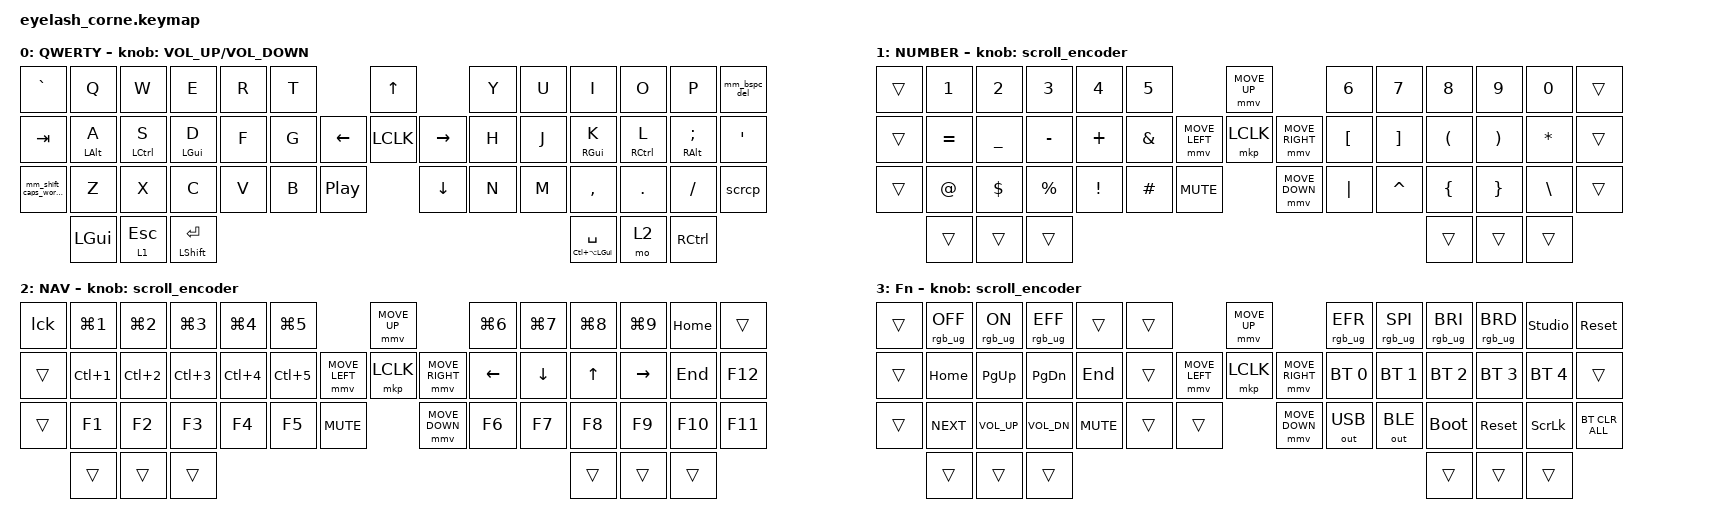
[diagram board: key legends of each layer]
#define ZMK_POINTING_DEFAULT_MOVE_VAL 1200  // 600
#define ZMK_POINTING_DEFAULT_SCRL_VAL 25   // 10

#define HM_TAPPING_TERM 300
#define HM_TAPPING_TERM_FAST 200
#define HM_PRIOR_IDLE 150

#define KEYS_L 0  1  2  3  4  5 13 14 15 16 17 18 28 29 30 31 32 33
#define KEYS_R 7  8  9 10 11 12 22 23 24 25 26 27 36 37 38 39 40 41
#define KEYS_T 42 43 44 45 46 47 48

#include <input/processors.dtsi>
#include <zephyr/dt-bindings/input/input-event-codes.h>
#include <behaviors.dtsi>
#include <dt-bindings/zmk/bt.h>
#include <dt-bindings/zmk/keys.h>
#include <dt-bindings/zmk/outputs.h>
#include <dt-bindings/zmk/pointing.h>
#include <dt-bindings/zmk/rgb.h>

&mmv_input_listener { input-processors = <&zip_xy_scaler 2 1>; };

&msc_input_listener { input-processors = <&zip_scroll_scaler 2 1>; };

&msc {
    acceleration-exponent = <1>;      // 0
    time-to-max-speed-ms = <100>;       // 300
    delay-ms = <0>;                   // 0
};

&lt {
    flavor = "balanced";
};

&mt {
    // Deactivate shift on press of next key instead of on release
    // to prevent capitalization of multiple characters when rolling
    // keys (such as `ST`).
    flavor = "hold-preferred";
};
/*
 * Sticky Key Settings
 */
&sk {
    // Deactivate shift on press of next key instead of on release
    // to prevent capitalization of multiple characters when rolling
    // keys (such as `ST`).
    quick-release;
};

&mmv {
    time-to-max-speed-ms = <500>;
    acceleration-exponent = <1>;
    trigger-period-ms = <16>;
};

/ {
 combos {
        compatible = "zmk,combos";

        parentheses_left {
            bindings = <&kp LEFT_PARENTHESIS>;
            key-positions = <16 17>;
            layers = <0>;
            require-prior-idle-ms = <125>;
        };

        parentheses_right {
            bindings = <&kp RIGHT_PARENTHESIS>;
            key-positions = <23 24>;
            layers = <0>;
            require-prior-idle-ms = <125>;
        };

        bracket_left {
            bindings = <&kp LEFT_BRACKET>;
            key-positions = <3 4>;
            require-prior-idle-ms = <125>;
            layers = <0>;
        };

        bracket_right {
            bindings = <&kp RIGHT_BRACKET>;
            key-positions = <8 9>;
            require-prior-idle-ms = <125>;
            layers = <0>;
        };

        brace_left {
            bindings = <&kp LEFT_BRACE>;
            key-positions = <31 32>;
            require-prior-idle-ms = <125>;
            layers = <0>;
        };

        brace_right {
            bindings = <&kp RIGHT_BRACE>;
            key-positions = <37 38>;
            require-prior-idle-ms = <125>;
            layers = <0>;
        };

        less_than {
            bindings = <&kp LESS_THAN>;
            key-positions = <2 3>;
            require-prior-idle-ms = <125>;
            layers = <0>;
        };

        bigger_than {
            bindings = <&kp GREATER_THAN>;
            key-positions = <9 10>;
            require-prior-idle-ms = <125>;
            layers = <0>;
        };

        hyphen {
            bindings = <&kp MINUS>;
            key-positions = <32 37>;
            require-prior-idle-ms = <125>;
            layers = <0>;
        };

        plus {
            bindings = <&kp PLUS>;
            key-positions = <4 8>;
            require-prior-idle-ms = <125>;
            layers = <0>;
        };

        equal {
            bindings = <&kp EQUAL>;
            key-positions = <17 23>;
            require-prior-idle-ms = <125>;
            layers = <0>;
        };

        astrsk {
            bindings = <&kp ASTERISK>;
            key-positions = <3 9>;
            require-prior-idle-ms = <125>;
            layers = <0>;
        };

        dollar {
            bindings = <&kp DOLLAR>;
            key-positions = <16 24>;
            require-prior-idle-ms = <125>;
            layers = <0>;
        };

        excl {
            bindings = <&kp EXCL>;
            key-positions = <31 38>;
            require-prior-idle-ms = <125>;
            layers = <0>;
        };

        ampersand {
            bindings = <&kp AMPERSAND>;
            key-positions = <18 22>;
            require-prior-idle-ms = <125>;
            layers = <0>;
        };

        underscore {
            bindings = <&kp UNDERSCORE>;
            key-positions = <33 36>;
            require-prior-idle-ms = <125>;
            layers = <0>;
        };

        /* nav01 { */
        /*    bindings = <&kp N1>; */
        /*    key-positions = <1 2>; */
        /*    layers = <1>; */
        /* } */
        /**/
        /* nav02 { */
        /*    bindings = <&kp N2>; */
        /*    key-positions = <2 3>; */
        /*    layers = <1>; */
        /* } */
        /**/
        /* nav03 { */
        /*    bindings = <&kp N3>; */
        /*    key-positions = <3 4>; */
        /*    layers = <1>; */
        /* } */
        /**/
        /* nav04 { */
        /*    bindings = <&kp N4>; */
        /*    key-positions = <4 5>; */
        /*    layers = <1>; */
        /* } */
    };

    behaviors {
        td0: td0 {
            compatible = "zmk,behavior-tap-dance";
            display-name = "Shift/Caps Lock Tap Dance";
            #binding-cells = <0>;
            tapping-term-ms = <500>;
            bindings = <&kp LEFT_SHIFT>, <&kp CAPS>;
        };
        td1: td1 {
            compatible = "zmk,behavior-tap-dance";
            display-name = "layer/alt Tap Dance";
            #binding-cells = <0>;
            tapping-term-ms = <500>;
            bindings = <&mo 2>, <&kp LALT>;
        };
       // Positional Homerow mods
        // Homerow mods that prevent accidental activations when rolling keys,
        // such as when typing `st` or `ne` on colemak-dh layouts or `as` on
        // qwerty.
        //
        // Works by only allowing a mod to activate within tapping-term if
        // it's on the opposite side of the keyboard or on the same side thumb
        // keys.

        // Further optimization using urob's timerless homerow mods method:
        // https://github.com/urob/zmk-config#timeless-homerow-mods
        hm_l: homerow_mods_left {
            compatible = "zmk,behavior-hold-tap";
            #binding-cells = <2>;
            bindings = <&kp>,  <&kp>;

            flavor = "balanced";
            tapping-term-ms = <HM_TAPPING_TERM>;
            quick-tap-ms = <175>;                // repeat on tap-into-hold
            require-prior-idle-ms = <HM_PRIOR_IDLE>;

            hold-trigger-key-positions = <KEYS_R KEYS_T>;
            hold-trigger-on-release;
        };

        hm_r: homerow_mods_right {
            compatible = "zmk,behavior-hold-tap";
            #binding-cells = <2>;
            bindings = <&kp>, <&kp>;

            flavor = "balanced";
            tapping-term-ms = <HM_TAPPING_TERM>;
            quick-tap-ms = <175>;
            require-prior-idle-ms = <HM_PRIOR_IDLE>;

            hold-trigger-key-positions = <KEYS_L KEYS_T>;
            hold-trigger-on-release;
        };

        /*
         * Shifted Backspace deletes
         *
         * Usage: &mm_bspc_del
         * Tap: Backspace
         * Shift-Tap: Delete
         */
        mm_bspc_del: bspc_del {
            compatible = "zmk,behavior-mod-morph";
            #binding-cells = <0>;
            bindings = <&kp BSPC>, <&kp DEL>;
            mods = <(MOD_LSFT|MOD_RSFT)>;
        };

        /*
         * Sticky shift + Caps Word
         *
         * Usage: &mm_shift_caps_word_l or &mm_shift_caps_word_r
         * Tap: Sticky shift
         * HMR-Shift-Tap: Caps Word
         * Double Tap: Caps Word
         *   - The first tap activates sticky shift mod
         *   - The second tap is now a shift + press, which activates
         *     the mod morph
         * Hold: Shift
         *
         * Credits to urob for this genius combo.
         */
        mm_shift_caps_word_l: mm_shift_caps_word_l {
            compatible = "zmk,behavior-mod-morph";
            label = "mm_shift_caps_word_l";
            #binding-cells = <0>;
            bindings = <&sk LSHFT>, <&caps_word>;
            mods = <(MOD_LSFT|MOD_RSFT)>;
        };
    };

    rgb_encoder: rgb_encoder {
        compatible = "zmk,behavior-sensor-rotate";
        #sensor-binding-cells = <0>;
        bindings = <&rgb_ug RGB_BRI>, <&rgb_ug RGB_BRD>;
    };

    scroll_encoder: scroll_encoder {
        compatible = "zmk,behavior-sensor-rotate";
        #sensor-binding-cells = <0>;
        bindings = <&msc SCRL_DOWN>, <&msc SCRL_UP>;

        tap-ms = <100>;
    };

   macros {
        scrcp: scrcp {
            compatible = "zmk,behavior-macro";
            #binding-cells = <0>;
            bindings
                = <&macro_press &kp LSHFT &kp LCTL &kp LGUI>
                , <&macro_tap &kp N4>
                , <&macro_release &kp LSHFT &kp LCTL &kp LGUI>
                ;
        };
        lck: lck {
            compatible = "zmk,behavior-macro";
            #binding-cells = <0>;
            bindings
                = <&macro_press &kp LCTL &kp LGUI>
                , <&macro_tap &kp Q>
                , <&macro_release  &kp LCTL &kp LGUI>
                ;
        };
    };

    keymap {
        compatible = "zmk,keymap";

        default_layer {
            display-name = "QWERTY";
            bindings = <
&kp GRAVE             &kp Q         &kp W            &kp E          &kp R  &kp T                            &kp UP               &kp Y    &kp U  &kp I        &kp O         &kp P            &mm_bspc_del
&kp TAB               &hm_l LALT A  &hm_l LCTRL S    &hm_l LGUI D   &kp F  &kp G                  &kp LEFT  &kp LCLK  &kp RIGHT  &kp H    &kp J  &hm_r RGUI K &hm_r RCTRL L &hm_r RALT SEMI  &kp SQT
&mm_shift_caps_word_l &kp Z         &kp X            &kp C          &kp V  &kp B     &kp C_PP               &kp DOWN             &kp N    &kp M  &kp COMMA    &kp DOT       &kp FSLH         &scrcp
                       &kp LGUI    &lt 1 ESC  &mt LSHIFT ENTER                                                                      &mt LC(LA(LGUI)) SPACE  &mo 2  &kp RCTRL
            >;

             sensor-bindings = <&inc_dec_kp C_VOLUME_UP C_VOLUME_DOWN>;
        };

        lower_layer {
            display-name = "NUMBER";
            bindings = <
&trans    &kp N1       &kp N2         &kp N3       &kp N4     &kp N5                                   &mmv MOVE_UP                  &kp N6    &kp N7     &kp N8    &kp N9    &kp N0    &trans
&trans    &kp EQUAL    &kp UNDERSCORE &kp MINUS    &kp PLUS   &kp AMPS                 &mmv MOVE_LEFT  &mkp LCLK     &mmv MOVE_RIGHT &kp LBKT  &kp RBKT   &kp LPAR  &kp RPAR  &kp STAR  &trans
&trans    &kp AT_SIGN  &kp DOLLAR     &kp PERCENT  &kp EXCL   &kp HASH     &kp C_MUTE                  &mmv MOVE_DOWN                &kp PIPE  &kp CARET  &kp LBRC  &kp RBRC  &kp BSLH  &trans
                                    &trans       &trans     &trans                                                              &trans  &trans     &trans
            >;
            sensor-bindings = <&scroll_encoder>;
        };

        raise_layer {
            display-name = "NAV";
            bindings = <
&lck      &kp LG(N1)      &kp LG(N2)      &kp LG(N3)      &kp LG(N4)  &kp LG(N5)                               &mmv MOVE_UP                     &kp LG(N6)       &kp LG(N7)       &kp LG(N8)       &kp LG(N9)   &kp HOME &trans
&trans    &kp LC(N1)      &kp LC(N2)      &kp LC(N3)      &kp LC(N4)  &kp LC(N5)                     &mmv MOVE_LEFT  &mkp LCLK &mmv MOVE_RIGHT  &kp LEFT         &kp DOWN         &kp UP           &kp RIGHT    &kp END  &kp F12
&trans    &kp F1          &kp F2          &kp F3          &kp F4      &kp F5   &kp C_MUTE                      &mmv MOVE_DOWN                   &kp F6           &kp F7           &kp F8           &kp F9       &kp F10  &kp F11
                                    &trans     &trans     &trans                                                                             &trans    &trans     &trans
            >;

            sensor-bindings = <&scroll_encoder>;
        };

        layer_3 {
            display-name = "Fn";
            bindings = <
&trans  &rgb_ug RGB_OFF &rgb_ug RGB_ON  &rgb_ug RGB_EFF &trans      &trans                                 &mmv MOVE_UP                     &rgb_ug RGB_EFR  &rgb_ug RGB_SPI  &rgb_ug RGB_BRI  &rgb_ug RGB_BRD &studio_unlock   &sys_reset
&trans  &kp HOME        &kp PG_UP       &kp PG_DN       &kp END     &trans                 &mmv MOVE_LEFT  &mkp LCLK    &mmv MOVE_RIGHT     &bt BT_SEL 0     &bt BT_SEL 1     &bt BT_SEL 2     &bt BT_SEL 3    &bt BT_SEL 4     &trans
&trans  &kp C_NEXT      &kp C_VOL_UP    &kp C_VOL_DN    &kp C_MUTE  &trans      &trans                     &mmv MOVE_DOWN                   &out OUT_USB     &out OUT_BLE     &bootloader      &sys_reset      &kp SCROLLLOCK   &bt BT_CLR_ALL
                                    &trans       &trans     &trans                                                                                  &trans      &trans     &trans


            >;

            sensor-bindings = <&scroll_encoder>;
        };
    };

    conditional_layers {
        compatible = "zmk,conditional-layers";

        func_layer {
            if-layers = <1 2>;
            then-layer = <3>;
        };
    };
};
